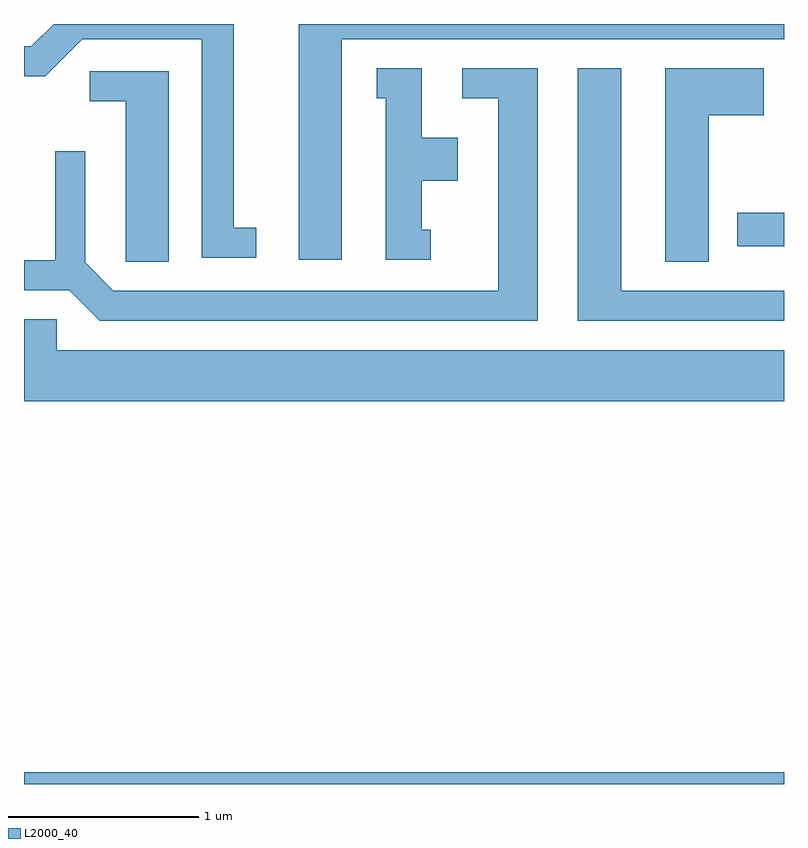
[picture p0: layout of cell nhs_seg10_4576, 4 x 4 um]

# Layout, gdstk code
import gdstk
lib = gdstk.Library(unit=1e-6, precision=1e-09)
def R(c, l, rs):  # rectangles x0, y0, x1, y1
    for r in rs: c.add(gdstk.rectangle(r[:2], r[2:], *l))
def P(c, l, *ps):  # polygons
    for p in ps: c.add(gdstk.Polygon(p, *l))
L2000_40 = (2000, 40)

nhs_seg10_4576 = lib.new_cell('nhs_seg10_4576')
R(nhs_seg10_4576, L2000_40, [(319.611,2158.522,323.611,2158.584), (323.366,2161.351,323.611,2161.529)])
P(nhs_seg10_4576, L2000_40, [(320.833,2161.449),(320.714,2161.449),(320.714,2162.522),(319.767,2162.522),(319.649,2162.404),(319.611,2162.404),(319.611,2162.246),(319.722,2162.246),(319.917,2162.441),(320.546,2162.441),(320.546,2161.291),(320.833,2161.291)],
  [(321.284,2162.441),(323.611,2162.441),(323.611,2162.522),(321.056,2162.522),(321.056,2161.281),(321.284,2161.281)],
  [(322.314,2162.289),(321.918,2162.289),(321.918,2162.131),(322.106,2162.131),(322.106,2161.119),(320.082,2161.119),(319.934,2161.267),(319.934,2161.853),(319.776,2161.853),(319.776,2161.279),(319.611,2161.279),(319.611,2161.121),(319.849,2161.121),(320.009,2160.961),(322.314,2160.961)],
  [(323.214,2162.041),(323.504,2162.041),(323.504,2162.289),(322.986,2162.289),(322.986,2161.271),(323.214,2161.271)],
  [(321.753,2161.439),(321.704,2161.439),(321.704,2161.696),(321.894,2161.696),(321.894,2161.924),(321.704,2161.924),(321.704,2162.289),(321.468,2162.289),(321.468,2162.131),(321.516,2162.131),(321.516,2161.281),(321.753,2161.281)],
  [(323.611,2161.119),(322.754,2161.119),(322.754,2162.289),(322.526,2162.289),(322.526,2160.961),(323.611,2160.961)],
  [(320.374,2162.274),(319.958,2162.274),(319.958,2162.116),(320.146,2162.116),(320.146,2161.271),(320.374,2161.271)],
  [(323.611,2160.804),(319.784,2160.804),(319.784,2160.969),(319.611,2160.969),(319.611,2160.536),(323.611,2160.536)])

lib.write_gds('nhs_seg10_4576.gds')
